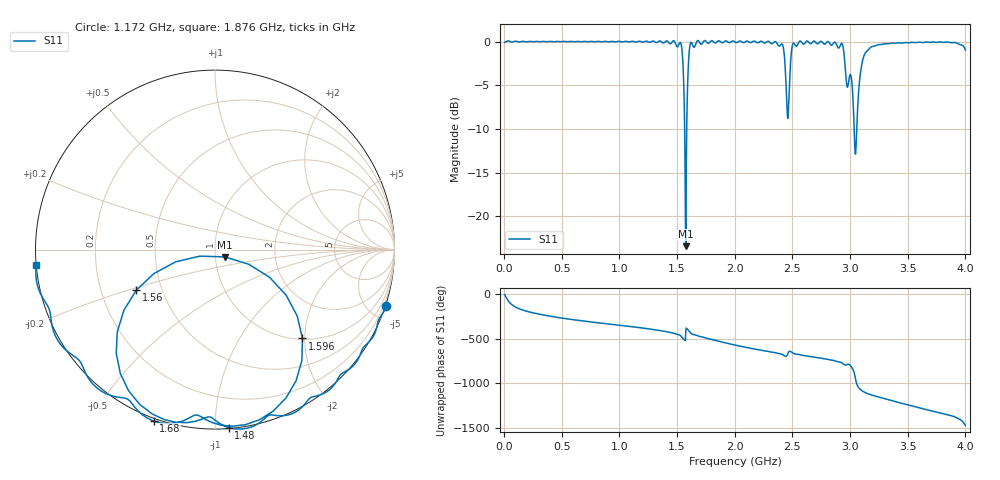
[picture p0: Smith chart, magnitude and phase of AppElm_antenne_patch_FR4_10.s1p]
! TOUCHSTONE file generated by CST MICROWAVE STUDIO
! Date and time: Tue Jun  7 21:31:22 2022
! Project name: AppElm_antenne_patch_FR4.cst
! Parameters = {L=45; W=58.5; e=0.035; h=1.6; lambda=0.190476; ls=120; w0=1.92; w1=0.533; ws=120; y0=20; y1=23.81}
! Header version: 2018
! Port assignment regex: !\s*Touchstone port\s*([0-9]+)\s*=\s*(CST MWS port|CST DS port)\s*([0-9]+|Zmin|Zmax)\s*\(\"(.*)\"\)(\s*mode\s*([0-9]+))?.*
! Touchstone port assignment:
! Touchstone port 1 = CST MWS port 1 ("")
# GHz S MA R 50
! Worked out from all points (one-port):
!   1000 points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, 4 MHz to 4 GHz, reference 50 ohm
!   lowest |S11| = -23.4 dB at 1.576 GHz (marker M1), VSWR 1.14, Z = 55.5 - j4.53 ohm
!   |S11| at or under -10 dB: 1.565 GHz to 1.583 GHz (18.15 MHz wide, 1.15 % of centre); 3.035 GHz to 3.058 GHz (22.41 MHz wide, 0.736 % of centre)
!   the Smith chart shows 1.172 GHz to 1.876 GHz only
!   S11 on the Smith chart (normalised r, x): 1.172 GHz: -0.09, -6.18; 1.48 GHz: 0.01, -1.08; 1.56 GHz: 0.36, -0.21; 1.596 GHz: 1.02, -1.95; 1.68 GHz: -0.01, -0.70; 1.876 GHz: 0.00, -0.04
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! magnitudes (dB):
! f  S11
! 4 MHz  -0.1
! 504 MHz  0.0
! 1.004 GHz  0.0
! 1.172 GHz  0.0
! 1.48 GHz  0.0
! 1.504 GHz  -0.6
! 1.54 GHz  -0.7
! 1.548 GHz  -2.0
! 1.56 GHz  -6.1
! 1.576 GHz  -23.4
! 1.588 GHz  -6.6
! 1.596 GHz  -3.2
! 1.604 GHz  -1.3
! 1.616 GHz  -0.2
! 1.68 GHz  0.1
! 1.876 GHz  0.0
! 2.004 GHz  -0.1
! 2.404 GHz  -0.3
! 2.46 GHz  -8.8
! 2.504 GHz  -0.2
! 2.924 GHz  -0.2
! 2.972 GHz  -5.1
! 3.004 GHz  -3.8
! 3.048 GHz  -12.9
! 3.092 GHz  -3.4
! 3.136 GHz  -1.2
! 3.504 GHz  -0.1
! 4 GHz  -1.0
